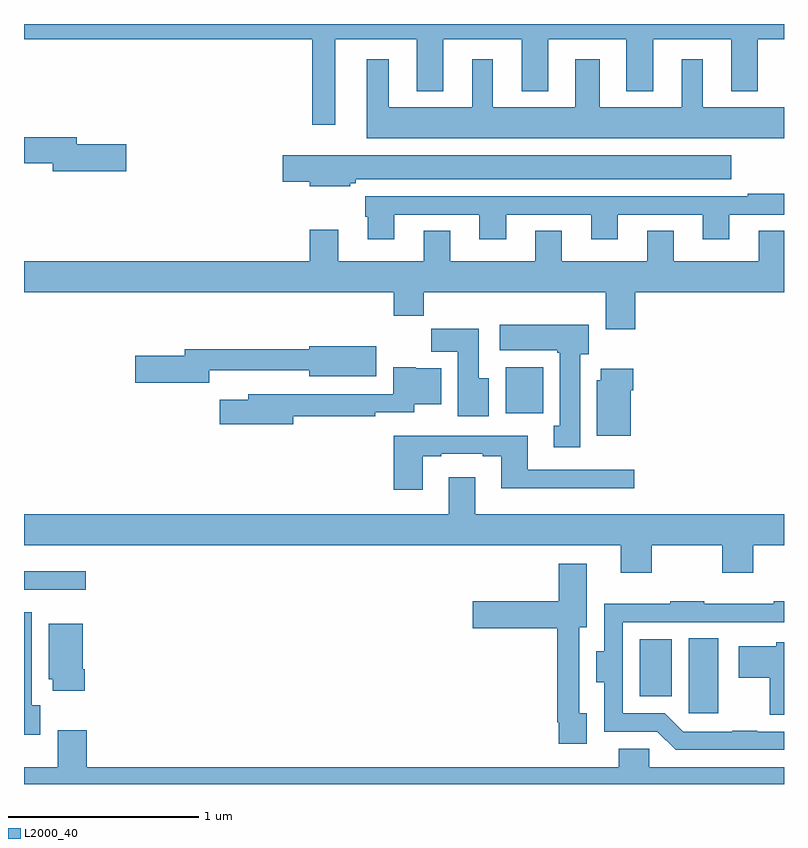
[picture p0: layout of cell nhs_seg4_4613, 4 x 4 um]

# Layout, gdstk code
import gdstk
lib = gdstk.Library(unit=1e-6, precision=1e-09)
def R(c, l, rs):  # rectangles x0, y0, x1, y1
    for r in rs: c.add(gdstk.rectangle(r[:2], r[2:], *l))
def P(c, l, *ps):  # polygons
    for p in ps: c.add(gdstk.Polygon(p, *l))
L2000_40 = (2000, 40)

nhs_seg4_4613 = lib.new_cell('nhs_seg4_4613')
R(nhs_seg4_4613, L2000_40, [(362.498,793.272,362.653,793.667), (362.24,793.361,362.41,793.663), (359,793.923,359.326,794.02), (361.535,794.852,361.732,795.094)])
P(nhs_seg4_4613, L2000_40, [(360.637,796.82),(361.067,796.82),(361.067,796.547),(361.207,796.547),(361.207,796.82),(361.619,796.82),(361.619,796.547),(361.759,796.547),(361.759,796.82),(362.171,796.82),(362.171,796.547),(362.311,796.547),(362.311,796.82),(362.723,796.82),(362.723,796.547),(362.863,796.547),(362.863,796.82),(363,796.82),(363,796.9),(359,796.9),(359,796.82),(360.516,796.82),(360.516,796.371),(360.637,796.371)],
  [(363,796.462),(362.572,796.462),(362.572,796.714),(362.462,796.714),(362.462,796.462),(362.029,796.462),(362.029,796.714),(361.901,796.714),(361.901,796.462),(361.468,796.462),(361.468,796.714),(361.358,796.714),(361.358,796.462),(360.919,796.462),(360.919,796.714),(360.803,796.714),(360.803,796.298),(363,796.298)],
  [(359.539,796.268),(359.278,796.268),(359.278,796.304),(359,796.304),(359,796.168),(359.15,796.168),(359.15,796.126),(359.539,796.126)],
  [(360.717,796.063),(360.747,796.063),(360.747,796.082),(362.722,796.082),(362.722,796.21),(360.363,796.21),(360.363,796.07),(360.504,796.07),(360.504,796.046),(360.717,796.046)],
  [(360.949,795.897),(361.397,795.897),(361.397,795.768),(361.537,795.768),(361.537,795.897),(361.985,795.897),(361.985,795.768),(362.125,795.768),(362.125,795.897),(362.573,795.897),(362.573,795.768),(362.713,795.768),(362.713,795.897),(363,795.897),(363,796.006),(362.809,796.006),(362.809,795.993),(360.797,795.993),(360.797,795.885),(360.809,795.885),(360.809,795.768),(360.949,795.768)],
  [(362.216,795.488),(363,795.488),(363,795.812),(362.867,795.812),(362.867,795.652),(362.419,795.652),(362.419,795.812),(362.279,795.812),(362.279,795.652),(361.831,795.652),(361.831,795.812),(361.691,795.812),(361.691,795.652),(361.243,795.652),(361.243,795.812),(361.103,795.812),(361.103,795.652),(360.655,795.652),(360.655,795.817),(360.503,795.817),(360.503,795.652),(359,795.652),(359,795.488),(360.947,795.488),(360.947,795.364),(361.103,795.364),(361.103,795.488),(362.063,795.488),(362.063,795.294),(362.216,795.294)],
  [(361.927,795.162),(361.972,795.162),(361.972,795.316),(361.503,795.316),(361.503,795.182),(361.807,795.182),(361.807,795.169),(361.82,795.169),(361.82,794.786),(361.787,794.786),(361.787,794.673),(361.927,794.673)],
  [(361.447,795.036),(361.393,795.036),(361.393,795.295),(361.144,795.295),(361.144,795.176),(361.283,795.176),(361.283,794.835),(361.447,794.835)],
  [(359.974,795.078),(360.5,795.078),(360.5,795.047),(360.853,795.047),(360.853,795.205),(360.5,795.205),(360.5,795.187),(359.846,795.187),(359.846,795.153),(359.586,795.153),(359.586,795.011),(359.974,795.011)],
  [(360.418,794.836),(360.848,794.836),(360.848,794.856),(361.054,794.856),(361.054,794.9),(361.195,794.9),(361.195,795.088),(361.062,795.088),(361.062,795.094),(360.944,795.094),(360.944,794.952),(360.179,794.952),(360.179,794.923),(360.03,794.923),(360.03,794.794),(360.418,794.794)],
  [(362.194,794.972),(362.207,794.972),(362.207,795.085),(362.036,795.085),(362.036,795.024),(362.015,795.024),(362.015,794.732),(362.194,794.732)],
  [(361.099,794.625),(361.195,794.625),(361.195,794.637),(361.415,794.637),(361.415,794.625),(361.511,794.625),(361.511,794.456),(362.212,794.456),(362.212,794.553),(361.651,794.553),(361.651,794.733),(360.947,794.733),(360.947,794.448),(361.099,794.448)],
  [(362.305,794.156),(362.675,794.156),(362.675,794.013),(362.839,794.013),(362.839,794.156),(363,794.156),(363,794.32),(361.375,794.32),(361.375,794.515),(361.235,794.515),(361.235,794.32),(359,794.32),(359,794.156),(362.141,794.156),(362.141,794.013),(362.305,794.013)],
  [(361.963,793.273),(361.923,793.273),(361.923,793.724),(361.963,793.724),(361.963,794.059),(361.814,794.059),(361.814,793.863),(361.362,793.863),(361.362,793.721),(361.807,793.721),(361.807,793.225),(361.815,793.225),(361.815,793.113),(361.963,793.113)],
  [(363,793.176),(362.858,793.176),(362.858,793.181),(362.728,793.181),(362.728,793.176),(362.469,793.176),(362.373,793.272),(362.151,793.272),(362.151,793.752),(363,793.752),(363,793.861),(362.945,793.861),(362.945,793.849),(362.579,793.849),(362.579,793.861),(362.401,793.861),(362.401,793.849),(362.055,793.849),(362.055,793.6),(362.012,793.6),(362.012,793.436),(362.054,793.436),(362.054,793.176),(362.334,793.176),(362.43,793.08),(363,793.08)],
  [(359.086,793.314),(359.041,793.314),(359.041,793.804),(359,793.804),(359,793.16),(359.086,793.16)],
  [(359.321,793.504),(359.308,793.504),(359.308,793.744),(359.129,793.744),(359.129,793.452),(359.15,793.452),(359.15,793.392),(359.321,793.392)],
  [(363,793.645),(362.958,793.645),(362.958,793.624),(362.763,793.624),(362.763,793.46),(362.924,793.46),(362.924,793.265),(363,793.265)],
  [(359.177,793.183),(359.177,792.988),(359,792.988),(359,792.9),(363,792.9),(363,792.988),(362.292,792.988),(362.292,793.086),(362.129,793.086),(362.129,792.988),(359.33,792.988),(359.33,793.183)])

lib.write_gds('nhs_seg4_4613.gds')
